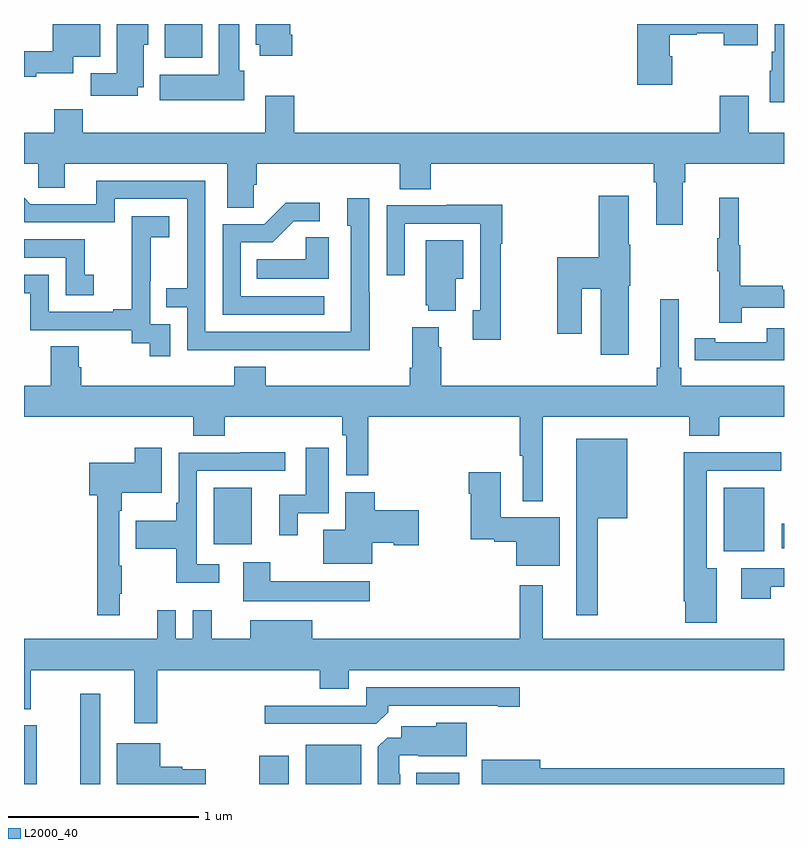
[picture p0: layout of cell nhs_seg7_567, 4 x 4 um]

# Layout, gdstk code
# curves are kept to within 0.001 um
import gdstk
lib = gdstk.Library(unit=1e-6, precision=1e-09)
def R(c, l, rs):  # rectangles x0, y0, x1, y1
    for r in rs: c.add(gdstk.rectangle(r[:2], r[2:], *l))
def P(c, l, *ps):  # polygons
    for p in ps: c.add(gdstk.Polygon(p, *l))
L2000_40 = (2000, 40)

nhs_seg7_567 = lib.new_cell('nhs_seg7_567')
R(nhs_seg7_567, L2000_40, [(155,1016,155.068,1016.308), (155.297,1016,155.401,1016.476), (156.239,1016,156.394,1016.149), (156.482,1016,156.775,1016.206), (157.064,1016,157.291,1016.059), (158.684,1017.224,158.896,1017.559), (158.987,1017.242,159,1017.37), (155.999,1017.263,156.199,1017.559), (155.741,1019.822,155.938,1020)])
P(nhs_seg7_567, L2000_40, [(155.064,1019.741),(155.26,1019.741),(155.26,1019.828),(155.401,1019.828),(155.401,1020),(155.15,1020),(155.15,1019.856),(155,1019.856),(155,1019.722),(155.064,1019.722)],
  [(156.16,1019.754),(156.133,1019.754),(156.133,1020),(156.026,1020),(156.026,1019.734),(155.714,1019.734),(155.714,1019.6),(156.16,1019.6)],
  [(158.411,1019.829),(158.398,1019.829),(158.398,1019.944),(158.541,1019.944),(158.541,1019.952),(158.684,1019.952),(158.684,1019.888),(158.863,1019.888),(158.863,1020),(158.228,1020),(158.228,1019.679),(158.411,1019.679)],
  [(156.413,1019.944),(156.4,1019.944),(156.4,1020),(156.221,1020),(156.221,1019.892),(156.242,1019.892),(156.242,1019.832),(156.413,1019.832)],
  [(159,1020),(158.951,1020),(158.951,1019.854),(158.936,1019.854),(158.936,1019.754),(158.924,1019.754),(158.924,1019.588),(159,1019.588)],
  [(155.599,1019.666),(155.629,1019.666),(155.629,1019.892),(155.653,1019.892),(155.653,1020),(155.489,1020),(155.489,1019.74),(155.35,1019.74),(155.35,1019.622),(155.599,1019.622)],
  [(158.467,1019.168),(158.48,1019.168),(158.48,1019.264),(159,1019.264),(159,1019.428),(158.815,1019.428),(158.815,1019.623),(158.663,1019.623),(158.663,1019.428),(156.422,1019.428),(156.422,1019.623),(156.269,1019.623),(156.269,1019.428),(155.309,1019.428),(155.309,1019.552),(155.158,1019.552),(155.158,1019.428),(155,1019.428),(155,1019.264),(155.076,1019.264),(155.076,1019.137),(155.215,1019.137),(155.215,1019.264),(156.071,1019.264),(156.071,1019.032),(156.21,1019.032),(156.21,1019.155),(156.224,1019.155),(156.224,1019.264),(156.977,1019.264),(156.977,1019.131),(157.142,1019.131),(157.142,1019.264),(158.315,1019.264),(158.315,1019.168),(158.327,1019.168),(158.327,1018.944),(158.467,1018.944)],
  [(156.819,1018.589),(156.816,1018.589),(156.816,1019.083),(156.701,1019.083),(156.701,1018.938),(156.72,1018.938),(156.72,1018.38),(155.955,1018.38),(155.955,1019.175),(155.381,1019.175),(155.381,1019.052),(155.034,1019.052),(155,1019.086),(155,1018.956),(155.478,1018.956),(155.478,1019.079),(155.859,1019.079),(155.859,1018.61),(155.749,1018.61),(155.749,1018.509),(155.859,1018.509),(155.859,1018.284),(156.819,1018.283)],
  [(158.182,1018.623),(158.19,1018.623),(158.19,1018.837),(158.182,1018.837),(158.182,1019.095),(158.024,1019.095),(158.024,1018.772),(157.807,1018.772),(157.807,1018.371),(157.936,1018.371),(157.936,1018.607),(158.036,1018.607),(158.036,1018.26),(158.182,1018.26)],
  [(158.777,1018.506),(159,1018.506),(159,1018.602),(158.993,1018.602),(158.993,1018.622),(158.77,1018.622),(158.77,1018.836),(158.762,1018.836),(158.762,1019.086),(158.66,1019.086),(158.66,1018.873),(158.649,1018.873),(158.649,1018.699),(158.66,1018.699),(158.66,1018.428),(158.777,1018.428)],
  [(156.58,1018.566),(156.141,1018.566),(156.141,1018.851),(156.31,1018.851),(156.421,1018.962),(156.556,1018.962),(156.556,1019.06),(156.377,1019.06),(156.264,1018.947),(156.045,1018.947),(156.045,1018.47),(156.58,1018.47)],
  [(157.51,1018.843),(157.517,1018.843),(157.517,1019.048),(157.225,1019.048),(157.225,1019.046),(156.909,1019.046),(156.909,1018.677),(157.005,1018.677),(157.005,1018.95),(157.401,1018.95),(157.401,1018.494),(157.361,1018.494),(157.361,1018.338),(157.51,1018.338)],
  [(155.769,1018.419),(155.664,1018.419),(155.664,1018.649),(155.666,1018.649),(155.666,1018.877),(155.764,1018.877),(155.764,1018.987),(155.566,1018.987),(155.566,1018.781),(155.567,1018.781),(155.567,1018.498),(155.471,1018.498),(155.471,1018.485),(155.13,1018.485),(155.13,1018.68),(155,1018.68),(155,1018.584),(155.034,1018.584),(155.034,1018.389),(155.568,1018.389),(155.568,1018.321),(155.661,1018.321),(155.661,1018.251),(155.769,1018.251)],
  [(156.604,1018.877),(156.483,1018.877),(156.483,1018.762),(156.226,1018.762),(156.226,1018.658),(156.604,1018.658)],
  [(155.368,1018.681),(155.319,1018.681),(155.319,1018.866),(155,1018.866),(155,1018.77),(155.22,1018.77),(155.22,1018.572),(155.368,1018.572)],
  [(157.273,1018.658),(157.312,1018.658),(157.312,1018.861),(157.115,1018.861),(157.115,1018.521),(157.127,1018.521),(157.127,1018.49),(157.273,1018.49)],
  [(157.729,1017.932),(158.5,1017.932),(158.5,1017.833),(158.66,1017.833),(158.66,1017.932),(159,1017.932),(159,1018.096),(158.459,1018.096),(158.459,1018.192),(158.445,1018.192),(158.445,1018.552),(158.348,1018.552),(158.348,1018.192),(158.329,1018.192),(158.329,1018.096),(157.196,1018.096),(157.196,1018.298),(157.183,1018.298),(157.183,1018.405),(157.043,1018.405),(157.043,1018.192),(157.031,1018.192),(157.031,1018.096),(156.272,1018.096),(156.272,1018.195),(156.107,1018.195),(156.107,1018.096),(155.3,1018.096),(155.3,1018.194),(155.287,1018.194),(155.287,1018.304),(155.14,1018.304),(155.14,1018.096),(155,1018.096),(155,1017.932),(155.891,1017.932),(155.891,1017.833),(156.056,1017.833),(156.056,1017.932),(156.676,1017.932),(156.676,1017.836),(156.696,1017.836),(156.696,1017.624),(156.812,1017.624),(156.812,1017.932),(157.608,1017.932),(157.608,1017.727),(157.625,1017.727),(157.625,1017.488),(157.729,1017.488)],
  [(159,1018.398),(158.91,1018.398),(158.91,1018.326),(158.638,1018.326),(158.638,1018.346),(158.53,1018.346),(158.53,1018.23),(158.638,1018.23),(158.638,1018.229),(159,1018.229)],
  [(158.021,1017.398),(158.176,1017.398),(158.176,1017.817),(157.907,1017.817),(157.907,1016.889),(158.021,1016.889)],
  [(155.504,1017.001),(155.515,1017.001),(155.515,1017.149),(155.502,1017.149),(155.502,1017.437),(155.515,1017.437),(155.515,1017.533),(155.725,1017.533),(155.725,1017.769),(155.582,1017.769),(155.582,1017.691),(155.343,1017.691),(155.343,1017.521),(155.386,1017.521),(155.386,1016.889),(155.504,1016.889)],
  [(156.442,1017.426),(156.604,1017.426),(156.604,1017.769),(156.482,1017.769),(156.482,1017.522),(156.344,1017.522),(156.344,1017.309),(156.442,1017.309)],
  [(158.647,1017.136),(158.593,1017.136),(158.593,1017.648),(158.986,1017.648),(158.986,1017.746),(158.473,1017.746),(158.473,1016.962),(158.48,1016.962),(158.48,1016.85),(158.647,1016.85)],
  [(156.028,1017.156),(155.91,1017.156),(155.91,1017.648),(156.376,1017.648),(156.376,1017.746),(156.139,1017.746),(156.139,1017.744),(155.814,1017.744),(155.814,1017.481),(155.802,1017.481),(155.802,1017.385),(155.587,1017.385),(155.587,1017.238),(155.802,1017.238),(155.802,1017.059),(156.028,1017.059)],
  [(157.819,1017.403),(157.51,1017.403),(157.51,1017.64),(157.34,1017.64),(157.34,1017.527),(157.352,1017.527),(157.352,1017.287),(157.476,1017.287),(157.476,1017.275),(157.592,1017.275),(157.592,1017.149),(157.819,1017.149)],
  [(156.832,1017.269),(156.947,1017.269),(156.947,1017.257),(157.078,1017.257),(157.078,1017.44),(156.845,1017.44),(156.845,1017.535),(156.692,1017.535),(156.692,1017.337),(156.575,1017.337),(156.575,1017.158),(156.832,1017.158)],
  [(156.82,1017.067),(156.295,1017.067),(156.295,1017.166),(156.155,1017.166),(156.155,1016.963),(156.82,1016.963)],
  [(158.931,1017.039),(159,1017.039),(159,1017.135),(158.775,1017.135),(158.775,1016.976),(158.931,1016.976)],
  [(155.701,1016.6),(156.557,1016.6),(156.557,1016.501),(156.709,1016.501),(156.709,1016.6),(159,1016.6),(159,1016.764),(157.729,1016.764),(157.729,1017.046),(157.608,1017.046),(157.608,1016.764),(156.517,1016.764),(156.517,1016.863),(156.191,1016.863),(156.191,1016.764),(155.987,1016.764),(155.987,1016.914),(155.889,1016.914),(155.889,1016.764),(155.799,1016.764),(155.799,1016.914),(155.702,1016.914),(155.702,1016.764),(155,1016.764),(155,1016.394),(155.035,1016.394),(155.035,1016.6),(155.579,1016.6),(155.579,1016.319),(155.701,1016.319)],
  [(156.917,1016.378),(156.917,1016.412),(157.496,1016.412),(157.496,1016.407),(157.609,1016.407),(157.609,1016.508),(156.801,1016.508),(156.801,1016.412),(156.267,1016.412),(156.267,1016.316),(156.855,1016.316)],
  [(156.979,1016.051),(156.975,1016.051),(156.975,1016.151),(157.075,1016.151),(157.075,1016.147),(157.33,1016.147),(157.33,1016.323),(157.17,1016.323),(157.17,1016.305),(156.986,1016.305),(156.986,1016.244),(156.912,1016.244),(156.863,1016.195),(156.863,1016),(156.979,1016)],
  [(155.956,1016.077),(155.832,1016.077),(155.832,1016.09),(155.716,1016.09),(155.716,1016.215),(155.489,1016.215),(155.489,1016),(155.956,1016)],
  [(159,1016.084),(157.717,1016.084),(157.717,1016.128),(157.41,1016.128),(157.41,1016),(159,1016)])

lib.write_gds('nhs_seg7_567.gds')
